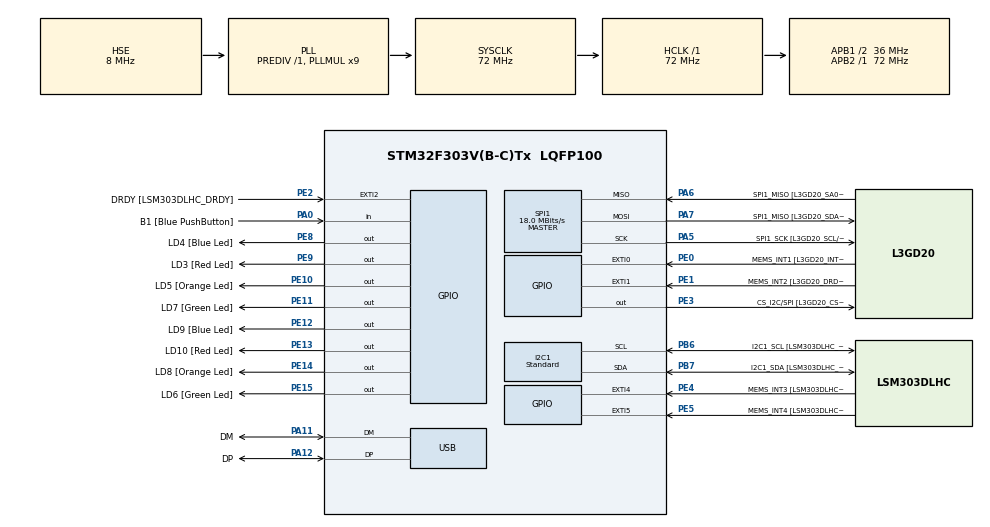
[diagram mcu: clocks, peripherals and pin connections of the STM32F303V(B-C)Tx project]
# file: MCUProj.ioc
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FREERTOS.Tasks01=defaultTask,0,128,StartDefaultTask,Default,NULL,Dynamic,NULL,NULL
FREERTOS.configUSE_TIMERS=1
I2C1.I2C_Speed_Mode=I2C_Standard
I2C1.Timing-I2C=0x2000090E
Mcu.Family=STM32F3
Mcu.Name=STM32F303V(B-C)Tx
Mcu.Package=LQFP100
NVIC.EXTI2_TSC_IRQn=true\:5\:0\:false\:false\:true\:true\:true\:true\:true
NVIC.I2C1_ER_IRQn=true\:5\:0\:false\:false\:true\:true\:true\:true\:true
NVIC.I2C1_EV_IRQn=true\:5\:0\:false\:false\:true\:true\:true\:true\:true
NVIC.PriorityGroup=NVIC_PRIORITYGROUP_4
NVIC.TIM1_TRG_COM_TIM17_IRQn=true\:15\:0\:false\:false\:true\:false\:false\:true\:true
NVIC.TIM1_UP_TIM16_IRQn=true\:5\:0\:false\:false\:true\:true\:true\:true\:true
NVIC.TimeBase=TIM1_TRG_COM_TIM17_IRQn
NVIC.TimeBaseIP=TIM17
NVIC.USB_LP_CAN_RX0_IRQn=true\:5\:0\:false\:false\:true\:true\:false\:true\:true
PA0.GPIO_Label=B1 [Blue PushButton]
PA0.Signal=GPIO_Input
PA11.GPIO_Label=DM
PA11.Mode=Device
PA11.Signal=USB_DM
PA12.GPIO_Label=DP
PA12.Mode=Device
PA12.Signal=USB_DP
PA13.GPIO_Label=SWDIO
PA13.Mode=Serial_Wire
PA13.Signal=SYS_JTMS-SWDIO
PA14.GPIO_Label=SWCLK
PA14.Mode=Serial_Wire
PA14.Signal=SYS_JTCK-SWCLK
PA5.GPIO_Label=SPI1_SCK [L3GD20_SCL/SPC]
PA5.Mode=Full_Duplex_Master
PA5.Signal=SPI1_SCK
PA6.GPIO_Label=SPI1_MISO [L3GD20_SA0/SDO]
PA6.Mode=Full_Duplex_Master
PA6.Signal=SPI1_MISO
PA7.GPIO_Label=SPI1_MISO [L3GD20_SDA/SDI/SDO]
PA7.Mode=Full_Duplex_Master
PA7.Signal=SPI1_MOSI
PB3.GPIO_Label=SWO
PB3.Signal=SYS_JTDO-TRACESWO
PB6.GPIO_Label=I2C1_SCL [LSM303DLHC_SCL]
PB6.GPIO_Pu=GPIO_PULLUP
PB6.Mode=I2C
PB6.Signal=I2C1_SCL
PB7.GPIO_Label=I2C1_SDA [LSM303DLHC_SDA]
PB7.GPIO_Pu=GPIO_PULLUP
PB7.Mode=I2C
PB7.Signal=I2C1_SDA
PC14-OSC32_IN.GPIO_Label=OSC32_IN
PC14-OSC32_IN.Signal=RCC_OSC32_IN
PC15-OSC32_OUT.GPIO_Label=OSC32_OUT
PC15-OSC32_OUT.Signal=RCC_OSC32_OUT
PE0.GPIO_Label=MEMS_INT1 [L3GD20_INT1]
PE0.GPIO_ModeDefaultEXTI=GPIO_MODE_EVT_RISING
PE0.Signal=GPXTI0
PE1.GPIO_Label=MEMS_INT2 [L3GD20_DRDY/INT2]
PE1.GPIO_ModeDefaultEXTI=GPIO_MODE_EVT_RISING
PE1.Signal=GPXTI1
PE10.GPIO_Label=LD5 [Orange Led]
PE10.Signal=GPIO_Output
PE11.GPIO_Label=LD7 [Green Led]
PE11.Signal=GPIO_Output
PE12.GPIO_Label=LD9 [Blue Led]
PE12.Signal=GPIO_Output
PE13.GPIO_Label=LD10 [Red Led]
PE13.Signal=GPIO_Output
PE14.GPIO_Label=LD8 [Orange Led]
PE14.Signal=GPIO_Output
PE15.GPIO_Label=LD6 [Green Led]
PE15.Signal=GPIO_Output
PE2.GPIO_Label=DRDY [LSM303DLHC_DRDY]
PE2.GPIO_ModeDefaultEXTI=GPIO_MODE_IT_RISING
PE2.Signal=GPXTI2
PE3.GPIO_Label=CS_I2C/SPI [L3GD20_CS_I2C/SPI]
PE3.Signal=GPIO_Output
PE4.GPIO_Label=MEMS_INT3 [LSM303DLHC_INT1]
PE4.GPIO_ModeDefaultEXTI=GPIO_MODE_EVT_RISING
PE4.Signal=GPXTI4
PE5.GPIO_Label=MEMS_INT4 [LSM303DLHC_INT2]
PE5.GPIO_ModeDefaultEXTI=GPIO_MODE_EVT_RISING
PE5.Signal=GPXTI5
PE8.GPIO_Label=LD4 [Blue Led]
PE8.Signal=GPIO_Output
PE9.GPIO_Label=LD3 [Red Led]
PE9.Signal=GPIO_Output
PF0-OSC_IN.GPIO_Label=OSC_IN
PF0-OSC_IN.Mode=HSE-External-Clock-Source
PF0-OSC_IN.Signal=RCC_OSC_IN
PF1-OSC_OUT.GPIO_Label=OSC_OUT
PF1-OSC_OUT.Signal=RCC_OSC_OUT
ProjectManager.HeapSize=0x200
ProjectManager.StackSize=0x400
ProjectManager.TargetToolchain=Makefile
RCC.AHBFreq_Value=72000000
RCC.APB1CLKDivider=RCC_HCLK_DIV2
RCC.APB1Freq_Value=36000000
RCC.APB1TimFreq_Value=72000000
RCC.APB2Freq_Value=72000000
RCC.APB2TimFreq_Value=72000000
RCC.CortexFreq_Value=72000000
RCC.HCLKFreq_Value=72000000
RCC.HSE_VALUE=8000000
RCC.HSI_VALUE=8000000
RCC.LSE_VALUE=32768
RCC.PLLMUL=RCC_PLL_MUL9
RCC.PRESCALERUSB=RCC_USBCLKSOURCE_PLL_DIV1_5
RCC.SYSCLKFreq_VALUE=72000000
RCC.SYSCLKSourceVirtual=RCC_SYSCLKSOURCE_PLLCLK
RCC.USBFreq_Value=48000000
SPI1.BaudRatePrescaler=SPI_BAUDRATEPRESCALER_4
SPI1.BaudRatePrescaler-Full_Duplex_Master=SPI_BAUDRATEPRESCALER_2
SPI1.CalculateBaudRate=18.0 MBits/s
SPI1.CalculateBaudRate-Full_Duplex_Master=24.0 MBits/s
SPI1.Direction=SPI_DIRECTION_2LINES
SPI1.Mode=SPI_MODE_MASTER
SPI1.Mode-Full_Duplex_Master=SPI_MODE_MASTER
SPI1.VirtualType=VM_MASTER
TIM16.Period=65535 - 1
TIM16.Prescaler=100
USB_DEVICE.CLASS_NAME_FS=CDC
USB_DEVICE.VirtualMode=Cdc
USB_DEVICE.VirtualModeFS=Cdc_FS
VP_FREERTOS_VS_CMSIS_V1.Mode=CMSIS_V1
VP_SYS_VS_tim17.Mode=TIM17
VP_TIM16_VS_ClockSourceINT.Mode=Enable_Timer
VP_USB_DEVICE_VS_USB_DEVICE_CDC_FS.Mode=CDC_FS
board=STM32F3DISCOVERY

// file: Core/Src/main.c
/* USER CODE BEGIN Header */
/**
  ******************************************************************************
  * @file           : main.c
  * @brief          : Main program body
  ******************************************************************************
  * @attention
  *
  * Copyright (c) 2023 STMicroelectronics.
  * All rights reserved.
  *
  * This software is licensed under terms that can be found in the LICENSE file
  * in the root directory of this software component.
  * If no LICENSE file comes with this software, it is provided AS-IS.
  *
  ******************************************************************************
  */
/* USER CODE END Header */
#include "main.h"
#include "cmsis_os.h"
#include "usb_device.h"
#include "timers.h"
/* USER CODE BEGIN Includes */
#include "modbus_srv.h"
#include "compass.h"
/* USER CODE END Includes */

I2C_HandleTypeDef hi2c1;

SPI_HandleTypeDef hspi1;

TIM_HandleTypeDef htim16;

osThreadId defaultTaskHandle;
/* USER CODE BEGIN PV */
TimerHandle_t xTimer;

/* USER CODE END PV */

void SystemClock_Config(void);
static void MX_GPIO_Init(void);
static void MX_I2C1_Init(void);
static void MX_SPI1_Init(void);
static void MX_TIM16_Init(void);
void StartDefaultTask(void const * argument);

int main(void)
{

  /* MCU Configuration--------------------------------------------------------*/

  /* Reset of all peripherals, Initializes the Flash interface and the Systick. */
  HAL_Init();

  /* Configure the system clock */
  SystemClock_Config();

  /* Initialize all configured peripherals */
  MX_GPIO_Init();
  MX_I2C1_Init();
  MX_SPI1_Init();
  MX_TIM16_Init();

  /* Create the thread(s) */
  /* definition and creation of defaultTask */
  osThreadDef(defaultTask, StartDefaultTask, osPriorityNormal, 0, 128);
  defaultTaskHandle = osThreadCreate(osThread(defaultTask), NULL);

  /* Start scheduler */
  osKernelStart();
  /* We should never get here as control is now taken by the scheduler */
  /* Infinite loop */
  while (1)
  {

  }
}

void SystemClock_Config(void)
{
  RCC_OscInitTypeDef RCC_OscInitStruct = {0};
  RCC_ClkInitTypeDef RCC_ClkInitStruct = {0};
  RCC_PeriphCLKInitTypeDef PeriphClkInit = {0};

  /** Initializes the RCC Oscillators according to the specified parameters
  * in the RCC_OscInitTypeDef structure.
  */
  RCC_OscInitStruct.OscillatorType = RCC_OSCILLATORTYPE_HSI|RCC_OSCILLATORTYPE_HSE;
  RCC_OscInitStruct.HSEState = RCC_HSE_BYPASS;
  RCC_OscInitStruct.HSEPredivValue = RCC_HSE_PREDIV_DIV1;
  RCC_OscInitStruct.HSIState = RCC_HSI_ON;
  RCC_OscInitStruct.HSICalibrationValue = RCC_HSICALIBRATION_DEFAULT;
  RCC_OscInitStruct.PLL.PLLState = RCC_PLL_ON;
  RCC_OscInitStruct.PLL.PLLSource = RCC_PLLSOURCE_HSE;
  RCC_OscInitStruct.PLL.PLLMUL = RCC_PLL_MUL9;
  if (HAL_RCC_OscConfig(&RCC_OscInitStruct) != HAL_OK)
  {
    Error_Handler();
  }

  /** Initializes the CPU, AHB and APB buses clocks
  */
  RCC_ClkInitStruct.ClockType = RCC_CLOCKTYPE_HCLK|RCC_CLOCKTYPE_SYSCLK
                              |RCC_CLOCKTYPE_PCLK1|RCC_CLOCKTYPE_PCLK2;
  RCC_ClkInitStruct.SYSCLKSource = RCC_SYSCLKSOURCE_PLLCLK;
  RCC_ClkInitStruct.AHBCLKDivider = RCC_SYSCLK_DIV1;
  RCC_ClkInitStruct.APB1CLKDivider = RCC_HCLK_DIV2;
  RCC_ClkInitStruct.APB2CLKDivider = RCC_HCLK_DIV1;

  if (HAL_RCC_ClockConfig(&RCC_ClkInitStruct, FLASH_LATENCY_2) != HAL_OK)
  {
    Error_Handler();
  }
  PeriphClkInit.PeriphClockSelection = RCC_PERIPHCLK_USB|RCC_PERIPHCLK_I2C1;
  PeriphClkInit.I2c1ClockSelection = RCC_I2C1CLKSOURCE_HSI;
  PeriphClkInit.USBClockSelection = RCC_USBCLKSOURCE_PLL_DIV1_5;
  if (HAL_RCCEx_PeriphCLKConfig(&PeriphClkInit) != HAL_OK)
  {
    Error_Handler();
  }
}

static void MX_I2C1_Init(void)
{

  hi2c1.Instance = I2C1;
  hi2c1.Init.Timing = 0x2000090E;
  hi2c1.Init.OwnAddress1 = 0;
  hi2c1.Init.AddressingMode = I2C_ADDRESSINGMODE_7BIT;
  hi2c1.Init.DualAddressMode = I2C_DUALADDRESS_DISABLE;
  hi2c1.Init.OwnAddress2 = 0;
  hi2c1.Init.OwnAddress2Masks = I2C_OA2_NOMASK;
  hi2c1.Init.GeneralCallMode = I2C_GENERALCALL_DISABLE;
  hi2c1.Init.NoStretchMode = I2C_NOSTRETCH_DISABLE;
  if (HAL_I2C_Init(&hi2c1) != HAL_OK)
  {
    Error_Handler();
  }

  /** Configure Analogue filter
  */
  if (HAL_I2CEx_ConfigAnalogFilter(&hi2c1, I2C_ANALOGFILTER_ENABLE) != HAL_OK)
  {
    Error_Handler();
  }

  /** Configure Digital filter
  */
  if (HAL_I2CEx_ConfigDigitalFilter(&hi2c1, 0) != HAL_OK)
  {
    Error_Handler();
  }

}

static void MX_SPI1_Init(void)
{

  /* SPI1 parameter configuration*/
  hspi1.Instance = SPI1;
  hspi1.Init.Mode = SPI_MODE_MASTER;
  hspi1.Init.Direction = SPI_DIRECTION_2LINES;
  hspi1.Init.DataSize = SPI_DATASIZE_4BIT;
  hspi1.Init.CLKPolarity = SPI_POLARITY_LOW;
  hspi1.Init.CLKPhase = SPI_PHASE_1EDGE;
  hspi1.Init.NSS = SPI_NSS_SOFT;
  hspi1.Init.BaudRatePrescaler = SPI_BAUDRATEPRESCALER_4;
  hspi1.Init.FirstBit = SPI_FIRSTBIT_MSB;
  hspi1.Init.TIMode = SPI_TIMODE_DISABLE;
  hspi1.Init.CRCCalculation = SPI_CRCCALCULATION_DISABLE;
  hspi1.Init.CRCPolynomial = 7;
  hspi1.Init.CRCLength = SPI_CRC_LENGTH_DATASIZE;
  hspi1.Init.NSSPMode = SPI_NSS_PULSE_ENABLE;
  if (HAL_SPI_Init(&hspi1) != HAL_OK)
  {
    Error_Handler();
  }

}

static void MX_TIM16_Init(void)
{

  htim16.Instance = TIM16;
  htim16.Init.Prescaler = 100;
  htim16.Init.CounterMode = TIM_COUNTERMODE_UP;
  htim16.Init.Period = 65535 - 1;
  htim16.Init.ClockDivision = TIM_CLOCKDIVISION_DIV1;
  htim16.Init.RepetitionCounter = 0;
  htim16.Init.AutoReloadPreload = TIM_AUTORELOAD_PRELOAD_DISABLE;
  if (HAL_TIM_Base_Init(&htim16) != HAL_OK)
  {
    Error_Handler();
  }

}

static void MX_GPIO_Init(void)
{
  GPIO_InitTypeDef GPIO_InitStruct = {0};

  /* GPIO Ports Clock Enable */
  __HAL_RCC_GPIOE_CLK_ENABLE();
  __HAL_RCC_GPIOC_CLK_ENABLE();
  __HAL_RCC_GPIOF_CLK_ENABLE();
  __HAL_RCC_GPIOA_CLK_ENABLE();
  __HAL_RCC_GPIOB_CLK_ENABLE();

  /*Configure GPIO pin Output Level */
  HAL_GPIO_WritePin(GPIOE, CS_I2C_SPI_Pin|LD4_Pin|LD3_Pin|LD5_Pin
                          |LD7_Pin|LD9_Pin|LD10_Pin|LD8_Pin
                          |LD6_Pin, GPIO_PIN_RESET);

  /*Configure GPIO pin : DRDY_Pin */
  GPIO_InitStruct.Pin = DRDY_Pin;
  GPIO_InitStruct.Mode = GPIO_MODE_IT_RISING;
  GPIO_InitStruct.Pull = GPIO_NOPULL;
  HAL_GPIO_Init(DRDY_GPIO_Port, &GPIO_InitStruct);

  /*Configure GPIO pins : CS_I2C_SPI_Pin LD4_Pin LD3_Pin LD5_Pin
                           LD7_Pin LD9_Pin LD10_Pin LD8_Pin
                           LD6_Pin */
  GPIO_InitStruct.Pin = CS_I2C_SPI_Pin|LD4_Pin|LD3_Pin|LD5_Pin
                          |LD7_Pin|LD9_Pin|LD10_Pin|LD8_Pin
                          |LD6_Pin;
  GPIO_InitStruct.Mode = GPIO_MODE_OUTPUT_PP;
  GPIO_InitStruct.Pull = GPIO_NOPULL;
  GPIO_InitStruct.Speed = GPIO_SPEED_FREQ_LOW;
  HAL_GPIO_Init(GPIOE, &GPIO_InitStruct);

  /*Configure GPIO pins : MEMS_INT3_Pin MEMS_INT4_Pin MEMS_INT1_Pin MEMS_INT2_Pin */
  GPIO_InitStruct.Pin = MEMS_INT3_Pin|MEMS_INT4_Pin|MEMS_INT1_Pin|MEMS_INT2_Pin;
  GPIO_InitStruct.Mode = GPIO_MODE_EVT_RISING;
  GPIO_InitStruct.Pull = GPIO_NOPULL;
  HAL_GPIO_Init(GPIOE, &GPIO_InitStruct);

  /*Configure GPIO pin : B1_Pin */
  GPIO_InitStruct.Pin = B1_Pin;
  GPIO_InitStruct.Mode = GPIO_MODE_INPUT;
  GPIO_InitStruct.Pull = GPIO_NOPULL;
  HAL_GPIO_Init(B1_GPIO_Port, &GPIO_InitStruct);

  /* EXTI interrupt init*/
  HAL_NVIC_SetPriority(EXTI2_TSC_IRQn, 5, 0);
  HAL_NVIC_EnableIRQ(EXTI2_TSC_IRQn);

}

/* USER CODE BEGIN 4 */

static void timer_init(void)
{
  xTimer = xTimerCreate("x_timer",
                        100,
                        pdTRUE,
                        (void *) 0,
                        data_ready_interrupt);

  if (xTimer == NULL)
  {
    Error_Handler();
  }
  else
  {
    if( xTimerStart( xTimer, 0 ) != pdPASS )
    {
      Error_Handler();
    }
  }
}

/* USER CODE END 4 */

void StartDefaultTask(void const * argument)
{
  /* init code for USB_DEVICE */
  MX_USB_DEVICE_Init();
  /* USER CODE BEGIN 5 */
  modbus_srv_init();

  compass_init();

  timer_init();

  /* Infinite loop */
  for(;;)
  {
    osDelay(1);
  }
  /* USER CODE END 5 */
}

void HAL_TIM_PeriodElapsedCallback(TIM_HandleTypeDef *htim)
{
  if (htim->Instance == TIM17) {
    HAL_IncTick();
  }
}

void Error_Handler(void)
{
  __disable_irq();
  while (1)
  {
  }
}
